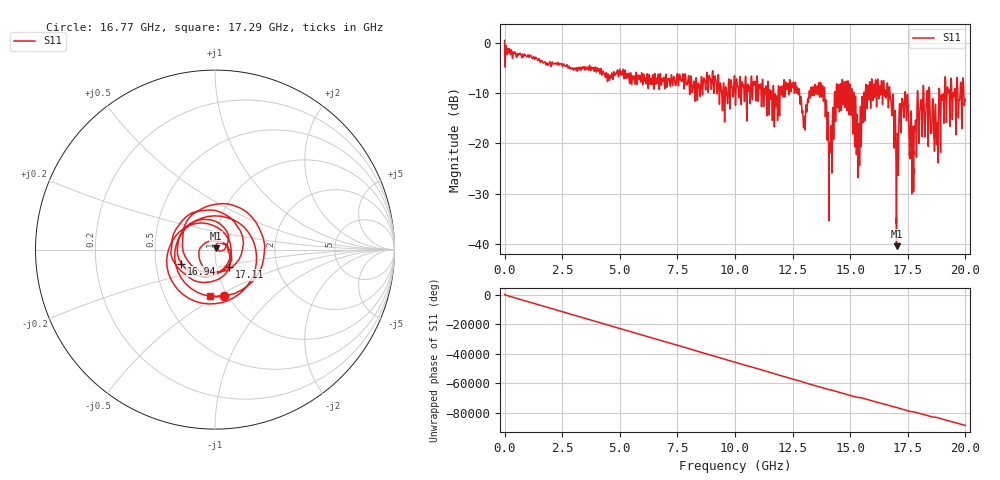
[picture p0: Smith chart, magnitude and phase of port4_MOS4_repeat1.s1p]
! MS46122B
! 2250307/22442219
! 7/22/2025 7:56:44 AM
! C:\USERS\SPARKY\DOCUMENTS\VNA_DATA\JULY22_2025\3K\PORT4_MOS4_REPEAT1.S1P
! CHANNEL.1
! TR.MEASUREMENT
! RAW.DATA
# GHZ S RI R 50.0
! FREQ.GHZ  S11RE  S11IM
!; PortSelection: Port_1
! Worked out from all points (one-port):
!   10001 points, 1 MHz to 20 GHz, reference 50 ohm
!   lowest |S11| = -40.4 dB at 17.01 GHz (marker M1), VSWR 1.02, Z = 50.6 + j0.729 ohm
!   |S11| at or under -10 dB: 15.16 GHz to 15.59 GHz (439 MHz wide, 2.86 % of centre); 16.73 GHz to 17.38 GHz (654.2 MHz wide, 3.84 % of centre); 17.4 GHz to 17.91 GHz (514.9 MHz wide, 2.92 % of centre) (the widest 3 of 87)
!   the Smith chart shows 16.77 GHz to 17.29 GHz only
!   S11 on the Smith chart (normalised r, x): 16.77 GHz: 0.96, -0.54; 16.94 GHz: 0.68, -0.11; 17.11 GHz: 1.15, -0.23; 17.29 GHz: 0.83, -0.46
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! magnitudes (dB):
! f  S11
! 1 MHz  0.4
! 2.501 GHz  -4.7
! 5.001 GHz  -5.5
! 7.501 GHz  -6.2
! 9.525 GHz  -9.7
! 10 GHz  -8.6
! 11.78 GHz  -12.6
! 12.5 GHz  -9.0
! 13 GHz  -15.0
! 13.3 GHz  -8.9
! 13.8 GHz  -8.5
! 14.13 GHz  -20.7
! 14.41 GHz  -8.2
! 15 GHz  -9.0
! 15.35 GHz  -23.3
! 15.76 GHz  -8.5
! 16.77 GHz  -11.5
! 16.94 GHz  -13.9
! 17.01 GHz  -40.4
! 17.11 GHz  -18.0
! 17.29 GHz  -11.7
! 17.5 GHz  -11.0
! 17.67 GHz  -18.8
! 18.11 GHz  -15.2
! 18.38 GHz  -16.9
! 18.73 GHz  -16.8
! 19.05 GHz  -12.1
! 20 GHz  -11.4
